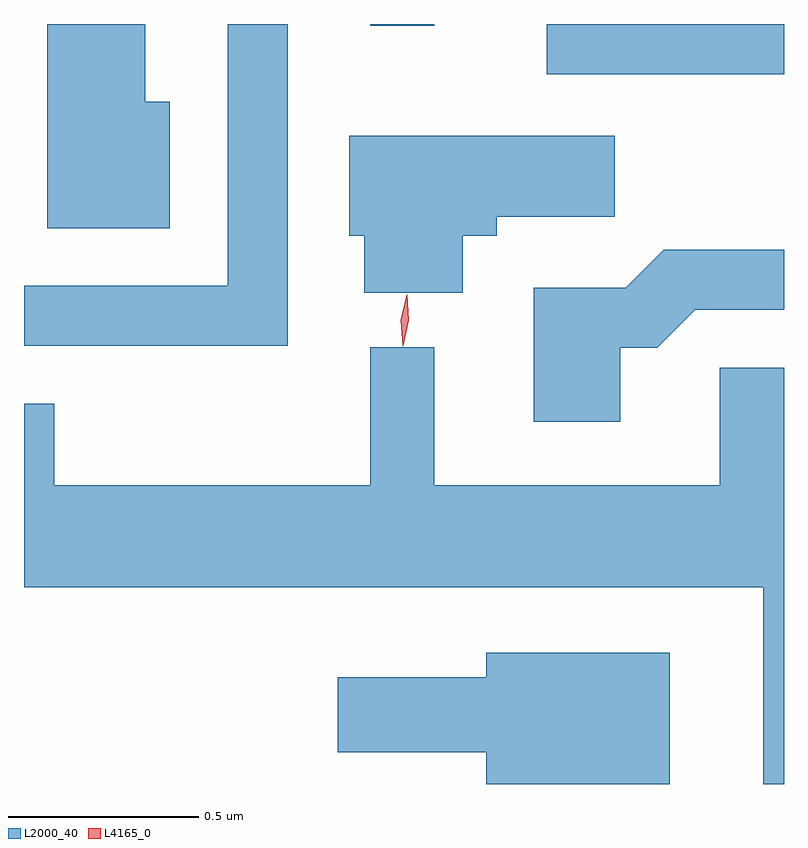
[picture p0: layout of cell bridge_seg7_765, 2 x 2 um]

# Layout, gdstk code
import gdstk
lib = gdstk.Library(unit=1e-6, precision=1e-09)
def R(c, l, rs):  # rectangles x0, y0, x1, y1
    for r in rs: c.add(gdstk.rectangle(r[:2], r[2:], *l))
def P(c, l, *ps):  # polygons
    for p in ps: c.add(gdstk.Polygon(p, *l))
L2000_40 = (2000, 40)
L4165_0 = (4165, 0)

bridge_seg7_765 = lib.new_cell('bridge_seg7_765')
R(bridge_seg7_765, L2000_40, [(557.326,1748.966,557.95,1749.098), (556.861,1749.093,557.029,1749.098)])
P(bridge_seg7_765, L2000_40, [(556.644,1749.098),(556.486,1749.098),(556.486,1748.409),(555.95,1748.409),(555.95,1748.251),(556.644,1748.251)],
  [(556.334,1748.894),(556.269,1748.894),(556.269,1749.098),(556.011,1749.098),(556.011,1748.561),(556.334,1748.561)],
  [(557.104,1748.541),(557.194,1748.541),(557.194,1748.591),(557.504,1748.591),(557.504,1748.804),(556.806,1748.804),(556.806,1748.541),(556.846,1748.541),(556.846,1748.391),(557.104,1748.391)],
  [(557.519,1748.246),(557.617,1748.246),(557.717,1748.346),(557.95,1748.346),(557.95,1748.504),(557.634,1748.504),(557.534,1748.404),(557.291,1748.404),(557.291,1748.051),(557.519,1748.051)],
  [(557.95,1748.194),(557.781,1748.194),(557.781,1747.884),(557.029,1747.884),(557.029,1748.248),(556.861,1748.248),(556.861,1747.884),(556.029,1747.884),(556.029,1748.099),(555.95,1748.099),(555.95,1747.616),(557.896,1747.616),(557.896,1747.098),(557.95,1747.098)],
  [(557.649,1747.444),(557.166,1747.444),(557.166,1747.379),(556.776,1747.379),(556.776,1747.181),(557.166,1747.181),(557.166,1747.098),(557.649,1747.098)])
P(bridge_seg7_765, L4165_0, [(556.947,1748.25),(556.947,1748.251),(556.942,1748.319),(556.957,1748.386),(556.957,1748.386),(556.958,1748.386),(556.962,1748.318),(556.948,1748.251)])

lib.write_gds('bridge_seg7_765.gds')
